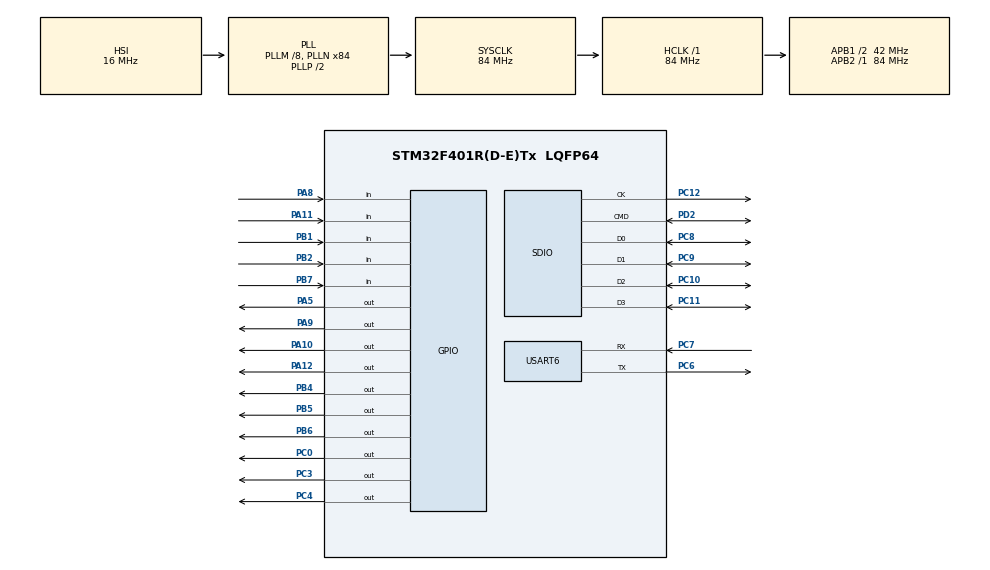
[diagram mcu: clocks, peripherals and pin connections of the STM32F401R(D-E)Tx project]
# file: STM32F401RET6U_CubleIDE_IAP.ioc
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Dma.Request0=SDIO_RX
Dma.Request1=SDIO_TX
Dma.SDIO_RX.0.Direction=DMA_PERIPH_TO_MEMORY
Dma.SDIO_RX.0.FIFOMode=DMA_FIFOMODE_ENABLE
Dma.SDIO_RX.0.FIFOThreshold=DMA_FIFO_THRESHOLD_FULL
Dma.SDIO_RX.0.Instance=DMA2_Stream3
Dma.SDIO_RX.0.MemBurst=DMA_MBURST_INC4
Dma.SDIO_RX.0.MemDataAlignment=DMA_MDATAALIGN_WORD
Dma.SDIO_RX.0.MemInc=DMA_MINC_ENABLE
Dma.SDIO_RX.0.Mode=DMA_PFCTRL
Dma.SDIO_RX.0.PeriphBurst=DMA_PBURST_INC4
Dma.SDIO_RX.0.PeriphDataAlignment=DMA_PDATAALIGN_WORD
Dma.SDIO_RX.0.PeriphInc=DMA_PINC_DISABLE
Dma.SDIO_RX.0.Priority=DMA_PRIORITY_LOW
Dma.SDIO_TX.1.Direction=DMA_MEMORY_TO_PERIPH
Dma.SDIO_TX.1.FIFOMode=DMA_FIFOMODE_ENABLE
Dma.SDIO_TX.1.FIFOThreshold=DMA_FIFO_THRESHOLD_FULL
Dma.SDIO_TX.1.Instance=DMA2_Stream6
Dma.SDIO_TX.1.MemBurst=DMA_MBURST_INC4
Dma.SDIO_TX.1.MemDataAlignment=DMA_MDATAALIGN_WORD
Dma.SDIO_TX.1.MemInc=DMA_MINC_ENABLE
Dma.SDIO_TX.1.Mode=DMA_PFCTRL
Dma.SDIO_TX.1.PeriphBurst=DMA_PBURST_INC4
Dma.SDIO_TX.1.PeriphDataAlignment=DMA_PDATAALIGN_WORD
Dma.SDIO_TX.1.PeriphInc=DMA_PINC_DISABLE
Dma.SDIO_TX.1.Priority=DMA_PRIORITY_LOW
FATFS.BSP.number=1
FATFS.USE_DMA_CODE_SD=1
FATFS._CODE_PAGE=1
FATFS._FS_MINIMIZE=3
FATFS._FS_NORTC=1
FATFS._NORTC_MDAY=1
FATFS._NORTC_MON=1
FATFS._NORTC_YEAR=2024
FATFS._USE_FASTSEEK=0
FATFS._USE_MKFS=0
FATFS._USE_STRFUNC=0
FATFS0.BSP.STBoard=false
FATFS0.BSP.api=Unknown
FATFS0.BSP.instance=PA11
FATFS0.BSP.ip=GPIO
FATFS0.BSP.mode=Input
FATFS0.BSP.name=Detect_SDIO
FATFS0.BSP.solution=PA11
Mcu.Family=STM32F4
Mcu.Name=STM32F401R(D-E)Tx
Mcu.Package=LQFP64
NVIC.DMA2_Stream3_IRQn=true\:0\:0\:false\:false\:true\:false\:true\:true
NVIC.DMA2_Stream6_IRQn=true\:0\:0\:false\:false\:true\:false\:true\:true
NVIC.PriorityGroup=NVIC_PRIORITYGROUP_4
NVIC.SDIO_IRQn=true\:0\:0\:false\:false\:true\:true\:true\:true
NVIC.USART6_IRQn=true\:0\:0\:false\:false\:true\:true\:true\:true
PA0-WKUP.Signal=USART2_CTS
PA1.Signal=USART2_RTS
PA10.Signal=GPIO_Output
PA11.Signal=GPIO_Input
PA12.Signal=GPIO_Output
PA13.Signal=SYS_JTMS-SWDIO
PA14.Signal=SYS_JTCK-SWCLK
PA2.Signal=USART2_TX
PA3.Signal=USART2_RX
PA4.Signal=SPI1_NSS
PA5.PinState=GPIO_PIN_SET
PA5.Signal=GPIO_Output
PA6.Signal=SPI1_MISO
PA7.Signal=SPI1_MOSI
PA8.Signal=GPIO_Input
PA9.Signal=GPIO_Output
PB1.Signal=GPIO_Input
PB2.Signal=GPIO_Input
PB3.Signal=SYS_JTDO-SWO
PB4.Signal=GPIO_Output
PB5.Signal=GPIO_Output
PB6.Signal=GPIO_Output
PB7.Signal=GPIO_Input
PC0.Signal=GPIO_Output
PC10.Mode=SD_4_bits_Wide_bus
PC10.Signal=SDIO_D2
PC11.Mode=SD_4_bits_Wide_bus
PC11.Signal=SDIO_D3
PC12.Mode=SD_4_bits_Wide_bus
PC12.Signal=SDIO_CK
PC14-OSC32_IN.Signal=RCC_OSC32_IN
PC15-OSC32_OUT.Signal=RCC_OSC32_OUT
PC3.Signal=GPIO_Output
PC4.Signal=GPIO_Output
PC6.Mode=Asynchronous
PC6.Signal=USART6_TX
PC7.Mode=Asynchronous
PC7.Signal=USART6_RX
PC8.Mode=SD_4_bits_Wide_bus
PC8.Signal=SDIO_D0
PC9.Mode=SD_4_bits_Wide_bus
PC9.Signal=SDIO_D1
PD2.Mode=SD_4_bits_Wide_bus
PD2.Signal=SDIO_CMD
PH0\ -\ OSC_IN.Signal=RCC_OSC_IN
PH1\ -\ OSC_OUT.Signal=RCC_OSC_OUT
ProjectManager.HeapSize=0x200
ProjectManager.StackSize=0x400
ProjectManager.TargetToolchain=STM32CubeIDE
RCC.48MHZClocksFreq_Value=42000000
RCC.AHBFreq_Value=84000000
RCC.APB1CLKDivider=RCC_HCLK_DIV2
RCC.APB1Freq_Value=42000000
RCC.APB1TimFreq_Value=84000000
RCC.APB2Freq_Value=84000000
RCC.APB2TimFreq_Value=84000000
RCC.CortexFreq_Value=84000000
RCC.HCLKFreq_Value=84000000
RCC.HSE_VALUE=25000000
RCC.HSI_VALUE=16000000
RCC.LSE_VALUE=32768
RCC.PLLM=8
RCC.PLLN=84
RCC.SYSCLKFreq_VALUE=84000000
RCC.SYSCLKSource=RCC_SYSCLKSOURCE_PLLCLK
RCC.VCOOutputFreq_Value=168000000
USART6.VirtualMode=VM_ASYNC
VP_FATFS_VS_SDIO.Mode=SDIO
board=custom

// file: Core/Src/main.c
/* USER CODE BEGIN Header */
/**
  ******************************************************************************
  * @file           : main.c
  * @brief          : Main program body
  ******************************************************************************
  * @attention
  *
  * Copyright (c) 2024 STMicroelectronics.
  * All rights reserved.
  *
  * This software is licensed under terms that can be found in the LICENSE file
  * in the root directory of this software component.
  * If no LICENSE file comes with this software, it is provided AS-IS.
  *
  ******************************************************************************
  */
/* USER CODE END Header */
#include "main.h"
#include "fatfs.h"

 SD_HandleTypeDef hsd;
DMA_HandleTypeDef hdma_sdio_rx;
DMA_HandleTypeDef hdma_sdio_tx;

UART_HandleTypeDef huart6;

void SystemClock_Config(void);
static void MX_GPIO_Init(void);
static void MX_DMA_Init(void);
static void MX_USART6_UART_Init(void);
static void MX_SDIO_SD_Init(void);

/* USER CODE BEGIN 0 */

#ifdef __GNUC__
/* With GCC, small printf (option LD Linker->Libraries->Small printf set to 'Yes') calls __io_putchar() */
#define PUTCHAR_PROTOTYPE int __io_putchar(int ch)
#define GETCHAR_PROTOTYPE int __io_getchar(void)
#else
#define PUTCHAR_PROTOTYPE int fputc(int ch, FILE *f)
#define GETCHAR_PROTOTYPE int fgetc(FILE *f)
#endif /* __GNUC__ */

PUTCHAR_PROTOTYPE
{
  /* Place your implementation of fputc here */
  /* e.g. write a character to the USART2 and Loop until the end of transmission */
  HAL_UART_Transmit(&huart6, (uint8_t *)&ch, 1, 0xFFFF);
  return ch;
}

GETCHAR_PROTOTYPE
{
  uint8_t ch = 0;
  __HAL_UART_CLEAR_OREFLAG(&huart6);
  HAL_UART_Receive(&huart6, (uint8_t *)&ch, 1, HAL_MAX_DELAY);
  HAL_UART_Transmit(&huart6, (uint8_t *)&ch, 1, 0);
  return ch;
}

/* USER CODE END 0 */

int main(void)
{

  /* MCU Configuration--------------------------------------------------------*/

  /* Reset of all peripherals, Initializes the Flash interface and the Systick. */
  HAL_Init();

  /* Configure the system clock */
  SystemClock_Config();

  /* Initialize all configured peripherals */
  MX_GPIO_Init();
  MX_DMA_Init();
  MX_USART6_UART_Init();
  MX_SDIO_SD_Init();
  MX_FATFS_Init();

  /* Infinite loop */
  /* USER CODE BEGIN WHILE */
  HAL_GPIO_WritePin(GPIOA, GPIO_PIN_5, GPIO_PIN_SET);
  iap_main();
  while (1)
  {
	     HAL_GPIO_WritePin(GPIOA, GPIO_PIN_5, GPIO_PIN_SET);
	     HAL_Delay(500);
	     HAL_GPIO_WritePin(GPIOA, GPIO_PIN_5, GPIO_PIN_RESET);
	     HAL_Delay(500);

    /* USER CODE END WHILE */

  }
}

void SystemClock_Config(void)
{
  RCC_OscInitTypeDef RCC_OscInitStruct = {0};
  RCC_ClkInitTypeDef RCC_ClkInitStruct = {0};

  /** Configure the main internal regulator output voltage
  */
  __HAL_RCC_PWR_CLK_ENABLE();
  __HAL_PWR_VOLTAGESCALING_CONFIG(PWR_REGULATOR_VOLTAGE_SCALE2);

  /** Initializes the RCC Oscillators according to the specified parameters
  * in the RCC_OscInitTypeDef structure.
  */
  RCC_OscInitStruct.OscillatorType = RCC_OSCILLATORTYPE_HSI;
  RCC_OscInitStruct.HSIState = RCC_HSI_ON;
  RCC_OscInitStruct.HSICalibrationValue = RCC_HSICALIBRATION_DEFAULT;
  RCC_OscInitStruct.PLL.PLLState = RCC_PLL_ON;
  RCC_OscInitStruct.PLL.PLLSource = RCC_PLLSOURCE_HSI;
  RCC_OscInitStruct.PLL.PLLM = 8;
  RCC_OscInitStruct.PLL.PLLN = 84;
  RCC_OscInitStruct.PLL.PLLP = RCC_PLLP_DIV2;
  RCC_OscInitStruct.PLL.PLLQ = 4;
  if (HAL_RCC_OscConfig(&RCC_OscInitStruct) != HAL_OK)
  {
    Error_Handler();
  }

  /** Initializes the CPU, AHB and APB buses clocks
  */
  RCC_ClkInitStruct.ClockType = RCC_CLOCKTYPE_HCLK|RCC_CLOCKTYPE_SYSCLK
                              |RCC_CLOCKTYPE_PCLK1|RCC_CLOCKTYPE_PCLK2;
  RCC_ClkInitStruct.SYSCLKSource = RCC_SYSCLKSOURCE_PLLCLK;
  RCC_ClkInitStruct.AHBCLKDivider = RCC_SYSCLK_DIV1;
  RCC_ClkInitStruct.APB1CLKDivider = RCC_HCLK_DIV2;
  RCC_ClkInitStruct.APB2CLKDivider = RCC_HCLK_DIV1;

  if (HAL_RCC_ClockConfig(&RCC_ClkInitStruct, FLASH_LATENCY_2) != HAL_OK)
  {
    Error_Handler();
  }
}

static void MX_SDIO_SD_Init(void)
{

  hsd.Instance = SDIO;
  hsd.Init.ClockEdge = SDIO_CLOCK_EDGE_RISING;
  hsd.Init.ClockBypass = SDIO_CLOCK_BYPASS_DISABLE;
  hsd.Init.ClockPowerSave = SDIO_CLOCK_POWER_SAVE_DISABLE;
  hsd.Init.BusWide = SDIO_BUS_WIDE_1B;
  hsd.Init.HardwareFlowControl = SDIO_HARDWARE_FLOW_CONTROL_DISABLE;
  hsd.Init.ClockDiv = 0;

}

static void MX_USART6_UART_Init(void)
{

  huart6.Instance = USART6;
  huart6.Init.BaudRate = 115200;
  huart6.Init.WordLength = UART_WORDLENGTH_8B;
  huart6.Init.StopBits = UART_STOPBITS_1;
  huart6.Init.Parity = UART_PARITY_NONE;
  huart6.Init.Mode = UART_MODE_TX_RX;
  huart6.Init.HwFlowCtl = UART_HWCONTROL_NONE;
  huart6.Init.OverSampling = UART_OVERSAMPLING_16;
  if (HAL_UART_Init(&huart6) != HAL_OK)
  {
    Error_Handler();
  }

}

static void MX_DMA_Init(void)
{

  /* DMA controller clock enable */
  __HAL_RCC_DMA2_CLK_ENABLE();

  /* DMA interrupt init */
  /* DMA2_Stream3_IRQn interrupt configuration */
  HAL_NVIC_SetPriority(DMA2_Stream3_IRQn, 0, 0);
  HAL_NVIC_EnableIRQ(DMA2_Stream3_IRQn);
  /* DMA2_Stream6_IRQn interrupt configuration */
  HAL_NVIC_SetPriority(DMA2_Stream6_IRQn, 0, 0);
  HAL_NVIC_EnableIRQ(DMA2_Stream6_IRQn);

}

static void MX_GPIO_Init(void)
{
  GPIO_InitTypeDef GPIO_InitStruct = {0};

  /* GPIO Ports Clock Enable */
  __HAL_RCC_GPIOC_CLK_ENABLE();
  __HAL_RCC_GPIOH_CLK_ENABLE();
  __HAL_RCC_GPIOA_CLK_ENABLE();
  __HAL_RCC_GPIOB_CLK_ENABLE();
  __HAL_RCC_GPIOD_CLK_ENABLE();

  /*Configure GPIO pin Output Level */
  HAL_GPIO_WritePin(GPIOC, GPIO_PIN_0|GPIO_PIN_3|GPIO_PIN_4, GPIO_PIN_RESET);

  /*Configure GPIO pin Output Level */
  HAL_GPIO_WritePin(GPIOA, GPIO_PIN_5, GPIO_PIN_SET);

  /*Configure GPIO pin Output Level */
  HAL_GPIO_WritePin(GPIOA, GPIO_PIN_9|GPIO_PIN_10|GPIO_PIN_12, GPIO_PIN_RESET);

  /*Configure GPIO pin Output Level */
  HAL_GPIO_WritePin(GPIOB, GPIO_PIN_4|GPIO_PIN_5|GPIO_PIN_6, GPIO_PIN_RESET);

  /*Configure GPIO pins : PC0 PC3 PC4 */
  GPIO_InitStruct.Pin = GPIO_PIN_0|GPIO_PIN_3|GPIO_PIN_4;
  GPIO_InitStruct.Mode = GPIO_MODE_OUTPUT_PP;
  GPIO_InitStruct.Pull = GPIO_NOPULL;
  GPIO_InitStruct.Speed = GPIO_SPEED_FREQ_LOW;
  HAL_GPIO_Init(GPIOC, &GPIO_InitStruct);

  /*Configure GPIO pins : PA0 PA1 PA2 PA3 */
  GPIO_InitStruct.Pin = GPIO_PIN_0|GPIO_PIN_1|GPIO_PIN_2|GPIO_PIN_3;
  GPIO_InitStruct.Mode = GPIO_MODE_AF_PP;
  GPIO_InitStruct.Pull = GPIO_NOPULL;
  GPIO_InitStruct.Speed = GPIO_SPEED_FREQ_VERY_HIGH;
  GPIO_InitStruct.Alternate = GPIO_AF7_USART2;
  HAL_GPIO_Init(GPIOA, &GPIO_InitStruct);

  /*Configure GPIO pins : PA4 PA6 PA7 */
  GPIO_InitStruct.Pin = GPIO_PIN_4|GPIO_PIN_6|GPIO_PIN_7;
  GPIO_InitStruct.Mode = GPIO_MODE_AF_PP;
  GPIO_InitStruct.Pull = GPIO_NOPULL;
  GPIO_InitStruct.Speed = GPIO_SPEED_FREQ_VERY_HIGH;
  GPIO_InitStruct.Alternate = GPIO_AF5_SPI1;
  HAL_GPIO_Init(GPIOA, &GPIO_InitStruct);

  /*Configure GPIO pins : PA5 PA9 PA10 PA12 */
  GPIO_InitStruct.Pin = GPIO_PIN_5|GPIO_PIN_9|GPIO_PIN_10|GPIO_PIN_12;
  GPIO_InitStruct.Mode = GPIO_MODE_OUTPUT_PP;
  GPIO_InitStruct.Pull = GPIO_NOPULL;
  GPIO_InitStruct.Speed = GPIO_SPEED_FREQ_LOW;
  HAL_GPIO_Init(GPIOA, &GPIO_InitStruct);

  /*Configure GPIO pins : PB1 PB2 PB7 */
  GPIO_InitStruct.Pin = GPIO_PIN_1|GPIO_PIN_2|GPIO_PIN_7;
  GPIO_InitStruct.Mode = GPIO_MODE_INPUT;
  GPIO_InitStruct.Pull = GPIO_NOPULL;
  HAL_GPIO_Init(GPIOB, &GPIO_InitStruct);

  /*Configure GPIO pins : PA8 PA11 */
  GPIO_InitStruct.Pin = GPIO_PIN_8|GPIO_PIN_11;
  GPIO_InitStruct.Mode = GPIO_MODE_INPUT;
  GPIO_InitStruct.Pull = GPIO_NOPULL;
  HAL_GPIO_Init(GPIOA, &GPIO_InitStruct);

  /*Configure GPIO pins : PB4 PB5 PB6 */
  GPIO_InitStruct.Pin = GPIO_PIN_4|GPIO_PIN_5|GPIO_PIN_6;
  GPIO_InitStruct.Mode = GPIO_MODE_OUTPUT_PP;
  GPIO_InitStruct.Pull = GPIO_NOPULL;
  GPIO_InitStruct.Speed = GPIO_SPEED_FREQ_LOW;
  HAL_GPIO_Init(GPIOB, &GPIO_InitStruct);

}

void Error_Handler(void)
{
  __disable_irq();
  while (1)
  {
  }
}
